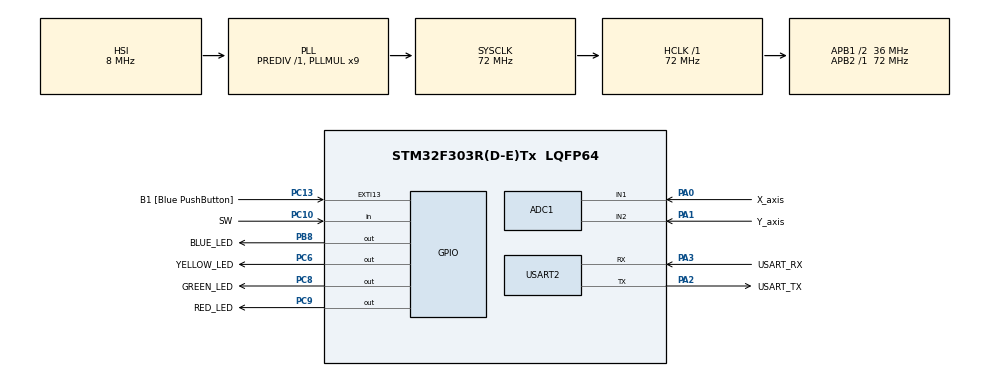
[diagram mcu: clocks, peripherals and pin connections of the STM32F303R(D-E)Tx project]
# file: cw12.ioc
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ADC1.Channel-0\#ChannelRegularConversion=ADC_CHANNEL_1
ADC1.NbrOfConversion=1
ADC1.NbrOfConversionFlag=1
ADC1.Offset-0\#ChannelRegularConversion=0
ADC1.OffsetNumber-0\#ChannelRegularConversion=ADC_OFFSET_NONE
ADC1.Rank-0\#ChannelRegularConversion=1
ADC1.SamplingTime-0\#ChannelRegularConversion=ADC_SAMPLETIME_19CYCLES_5
ADC1.master=1
Mcu.Family=STM32F3
Mcu.Name=STM32F303R(D-E)Tx
Mcu.Package=LQFP64
NVIC.PriorityGroup=NVIC_PRIORITYGROUP_0
PA0.GPIO_Label=X_axis
PA0.Mode=IN1-Single-Ended
PA0.Signal=ADC1_IN1
PA1.GPIO_Label=Y_axis
PA1.Mode=IN2-Single-Ended
PA1.Signal=ADC1_IN2
PA13.GPIO_Label=TMS
PA13.Mode=Serial_Wire
PA13.Signal=SYS_JTMS-SWDIO
PA14.GPIO_Label=TCK
PA14.Mode=Serial_Wire
PA14.Signal=SYS_JTCK-SWCLK
PA2.GPIO_Label=USART_TX
PA2.GPIO_Mode=GPIO_MODE_AF_PP
PA2.GPIO_PuPd=GPIO_NOPULL
PA2.GPIO_Speed=GPIO_SPEED_FREQ_LOW
PA2.Mode=Asynchronous
PA2.Signal=USART2_TX
PA3.GPIO_Label=USART_RX
PA3.GPIO_Mode=GPIO_MODE_AF_PP
PA3.GPIO_PuPd=GPIO_NOPULL
PA3.GPIO_Speed=GPIO_SPEED_FREQ_LOW
PA3.Mode=Asynchronous
PA3.Signal=USART2_RX
PB3.GPIO_Label=SWO
PB3.Signal=SYS_JTDO-TRACESWO
PB8.GPIO_Label=BLUE_LED
PB8.Signal=GPIO_Output
PC10.GPIO_Label=SW
PC10.GPIO_PuPd=GPIO_PULLUP
PC10.Signal=GPIO_Input
PC13.GPIO_Label=B1 [Blue PushButton]
PC13.GPIO_ModeDefaultEXTI=GPIO_MODE_IT_FALLING
PC13.Signal=GPXTI13
PC14-OSC32_IN.Mode=LSE-External-Oscillator
PC14-OSC32_IN.Signal=RCC_OSC32_IN
PC15-OSC32_OUT.Mode=LSE-External-Oscillator
PC15-OSC32_OUT.Signal=RCC_OSC32_OUT
PC6.GPIO_Label=YELLOW_LED
PC6.Signal=GPIO_Output
PC8.GPIO_Label=GREEN_LED
PC8.Signal=GPIO_Output
PC9.GPIO_Label=RED_LED
PC9.Signal=GPIO_Output
PF0-OSC_IN.Mode=HSE-External-Clock-Source
PF0-OSC_IN.Signal=RCC_OSC_IN
PF1-OSC_OUT.Signal=RCC_OSC_OUT
ProjectManager.HeapSize=0x200
ProjectManager.StackSize=0x400
ProjectManager.TargetToolchain=STM32CubeIDE
RCC.AHBFreq_Value=72000000
RCC.APB1CLKDivider=RCC_HCLK_DIV2
RCC.APB1Freq_Value=36000000
RCC.APB1TimFreq_Value=72000000
RCC.APB2Freq_Value=72000000
RCC.APB2TimFreq_Value=72000000
RCC.CortexFreq_Value=72000000
RCC.HCLKFreq_Value=72000000
RCC.HSE_VALUE=8000000
RCC.HSI_VALUE=8000000
RCC.PLLM=8
RCC.PLLMUL=RCC_PLL_MUL9
RCC.PLLN=336
RCC.PLLP=RCC_PLLP_DIV4
RCC.PLLQ=7
RCC.RCC_PLLsource_Clock_Source_FROM_HSE=RCC_HSE_PREDIV_DIV2
RCC.SYSCLKFreq_VALUE=72000000
RCC.SYSCLKSourceVirtual=RCC_SYSCLKSOURCE_PLLCLK
RCC.USBFreq_Value=72000000
USART2.VirtualMode-Asynchronous=VM_ASYNC
board=NUCLEO-F303RE

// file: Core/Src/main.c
/* USER CODE BEGIN Header */
/**
  ******************************************************************************
  * @file           : main.c
  * @brief          : Main program body
  ******************************************************************************
  * @attention
  *
  * Copyright (c) 2026 STMicroelectronics.
  * All rights reserved.
  *
  * This software is licensed under terms that can be found in the LICENSE file
  * in the root directory of this software component.
  * If no LICENSE file comes with this software, it is provided AS-IS.
  *
  ******************************************************************************
  */
/* USER CODE END Header */
#include "main.h"

ADC_HandleTypeDef hadc1;

UART_HandleTypeDef huart2;

/* USER CODE BEGIN PV */
uint8_t sequence=0;
uint8_t button_old_state=1;
uint8_t button_new_state=0;
uint16_t axis_X=2028;
uint16_t axis_Y=2028;
State_t current_state=ALL_OFF;
State_t previous_state=ALL_OFF;

uint32_t blinking_last_time=0;
uint32_t wave_last_time=0;
uint8_t wave_led=0;
bool blinking_phase=false;
/* USER CODE END PV */

void SystemClock_Config(void);
static void MX_GPIO_Init(void);
static void MX_USART2_UART_Init(void);
static void MX_ADC1_Init(void);

int main(void)
{

  /* MCU Configuration--------------------------------------------------------*/

  /* Reset of all peripherals, Initializes the Flash interface and the Systick. */
  HAL_Init();

  /* Configure the system clock */
  SystemClock_Config();

  /* Initialize all configured peripherals */
  MX_GPIO_Init();
  MX_USART2_UART_Init();
  MX_ADC1_Init();

  /* Infinite loop */
  /* USER CODE BEGIN WHILE */

  while (1)
  {
	 StateMachine_Update();
    /* USER CODE END WHILE */

  }
}

void SystemClock_Config(void)
{
  RCC_OscInitTypeDef RCC_OscInitStruct = {0};
  RCC_ClkInitTypeDef RCC_ClkInitStruct = {0};
  RCC_PeriphCLKInitTypeDef PeriphClkInit = {0};

  /** Initializes the RCC Oscillators according to the specified parameters
  * in the RCC_OscInitTypeDef structure.
  */
  RCC_OscInitStruct.OscillatorType = RCC_OSCILLATORTYPE_HSI;
  RCC_OscInitStruct.HSIState = RCC_HSI_ON;
  RCC_OscInitStruct.HSICalibrationValue = RCC_HSICALIBRATION_DEFAULT;
  RCC_OscInitStruct.PLL.PLLState = RCC_PLL_ON;
  RCC_OscInitStruct.PLL.PLLSource = RCC_PLLSOURCE_HSI;
  RCC_OscInitStruct.PLL.PLLMUL = RCC_PLL_MUL9;
  RCC_OscInitStruct.PLL.PREDIV = RCC_PREDIV_DIV1;
  if (HAL_RCC_OscConfig(&RCC_OscInitStruct) != HAL_OK)
  {
    Error_Handler();
  }

  /** Initializes the CPU, AHB and APB buses clocks
  */
  RCC_ClkInitStruct.ClockType = RCC_CLOCKTYPE_HCLK|RCC_CLOCKTYPE_SYSCLK
                              |RCC_CLOCKTYPE_PCLK1|RCC_CLOCKTYPE_PCLK2;
  RCC_ClkInitStruct.SYSCLKSource = RCC_SYSCLKSOURCE_PLLCLK;
  RCC_ClkInitStruct.AHBCLKDivider = RCC_SYSCLK_DIV1;
  RCC_ClkInitStruct.APB1CLKDivider = RCC_HCLK_DIV2;
  RCC_ClkInitStruct.APB2CLKDivider = RCC_HCLK_DIV1;

  if (HAL_RCC_ClockConfig(&RCC_ClkInitStruct, FLASH_LATENCY_2) != HAL_OK)
  {
    Error_Handler();
  }
  PeriphClkInit.PeriphClockSelection = RCC_PERIPHCLK_USART2|RCC_PERIPHCLK_ADC12;
  PeriphClkInit.Usart2ClockSelection = RCC_USART2CLKSOURCE_PCLK1;
  PeriphClkInit.Adc12ClockSelection = RCC_ADC12PLLCLK_DIV1;
  if (HAL_RCCEx_PeriphCLKConfig(&PeriphClkInit) != HAL_OK)
  {
    Error_Handler();
  }
}

static void MX_ADC1_Init(void)
{

  ADC_MultiModeTypeDef multimode = {0};
  ADC_ChannelConfTypeDef sConfig = {0};

  /** Common config
  */
  hadc1.Instance = ADC1;
  hadc1.Init.ClockPrescaler = ADC_CLOCK_ASYNC_DIV1;
  hadc1.Init.Resolution = ADC_RESOLUTION_12B;
  hadc1.Init.ScanConvMode = ADC_SCAN_DISABLE;
  hadc1.Init.ContinuousConvMode = DISABLE;
  hadc1.Init.DiscontinuousConvMode = DISABLE;
  hadc1.Init.ExternalTrigConvEdge = ADC_EXTERNALTRIGCONVEDGE_NONE;
  hadc1.Init.ExternalTrigConv = ADC_SOFTWARE_START;
  hadc1.Init.DataAlign = ADC_DATAALIGN_RIGHT;
  hadc1.Init.NbrOfConversion = 1;
  hadc1.Init.DMAContinuousRequests = DISABLE;
  hadc1.Init.EOCSelection = ADC_EOC_SINGLE_CONV;
  hadc1.Init.LowPowerAutoWait = DISABLE;
  hadc1.Init.Overrun = ADC_OVR_DATA_OVERWRITTEN;
  if (HAL_ADC_Init(&hadc1) != HAL_OK)
  {
    Error_Handler();
  }

  /** Configure the ADC multi-mode
  */
  multimode.Mode = ADC_MODE_INDEPENDENT;
  if (HAL_ADCEx_MultiModeConfigChannel(&hadc1, &multimode) != HAL_OK)
  {
    Error_Handler();
  }

  /** Configure Regular Channel
  */
  sConfig.Channel = ADC_CHANNEL_1;
  sConfig.Rank = ADC_REGULAR_RANK_1;
  sConfig.SingleDiff = ADC_SINGLE_ENDED;
  sConfig.SamplingTime = ADC_SAMPLETIME_19CYCLES_5;
  sConfig.OffsetNumber = ADC_OFFSET_NONE;
  sConfig.Offset = 0;
  if (HAL_ADC_ConfigChannel(&hadc1, &sConfig) != HAL_OK)
  {
    Error_Handler();
  }

}

static void MX_USART2_UART_Init(void)
{

  huart2.Instance = USART2;
  huart2.Init.BaudRate = 38400;
  huart2.Init.WordLength = UART_WORDLENGTH_8B;
  huart2.Init.StopBits = UART_STOPBITS_1;
  huart2.Init.Parity = UART_PARITY_NONE;
  huart2.Init.Mode = UART_MODE_TX_RX;
  huart2.Init.HwFlowCtl = UART_HWCONTROL_NONE;
  huart2.Init.OverSampling = UART_OVERSAMPLING_16;
  huart2.Init.OneBitSampling = UART_ONE_BIT_SAMPLE_DISABLE;
  huart2.AdvancedInit.AdvFeatureInit = UART_ADVFEATURE_NO_INIT;
  if (HAL_UART_Init(&huart2) != HAL_OK)
  {
    Error_Handler();
  }

}

static void MX_GPIO_Init(void)
{
  GPIO_InitTypeDef GPIO_InitStruct = {0};

  /* GPIO Ports Clock Enable */
  __HAL_RCC_GPIOC_CLK_ENABLE();
  __HAL_RCC_GPIOF_CLK_ENABLE();
  __HAL_RCC_GPIOA_CLK_ENABLE();
  __HAL_RCC_GPIOB_CLK_ENABLE();

  /*Configure GPIO pin Output Level */
  HAL_GPIO_WritePin(GPIOC, YELLOW_LED_Pin|GREEN_LED_Pin|RED_LED_Pin, GPIO_PIN_RESET);

  /*Configure GPIO pin Output Level */
  HAL_GPIO_WritePin(BLUE_LED_GPIO_Port, BLUE_LED_Pin, GPIO_PIN_RESET);

  /*Configure GPIO pin : B1_Pin */
  GPIO_InitStruct.Pin = B1_Pin;
  GPIO_InitStruct.Mode = GPIO_MODE_IT_FALLING;
  GPIO_InitStruct.Pull = GPIO_NOPULL;
  HAL_GPIO_Init(B1_GPIO_Port, &GPIO_InitStruct);

  /*Configure GPIO pins : YELLOW_LED_Pin GREEN_LED_Pin RED_LED_Pin */
  GPIO_InitStruct.Pin = YELLOW_LED_Pin|GREEN_LED_Pin|RED_LED_Pin;
  GPIO_InitStruct.Mode = GPIO_MODE_OUTPUT_PP;
  GPIO_InitStruct.Pull = GPIO_NOPULL;
  GPIO_InitStruct.Speed = GPIO_SPEED_FREQ_LOW;
  HAL_GPIO_Init(GPIOC, &GPIO_InitStruct);

  /*Configure GPIO pin : SW_Pin */
  GPIO_InitStruct.Pin = SW_Pin;
  GPIO_InitStruct.Mode = GPIO_MODE_INPUT;
  GPIO_InitStruct.Pull = GPIO_PULLUP;
  HAL_GPIO_Init(SW_GPIO_Port, &GPIO_InitStruct);

  /*Configure GPIO pin : BLUE_LED_Pin */
  GPIO_InitStruct.Pin = BLUE_LED_Pin;
  GPIO_InitStruct.Mode = GPIO_MODE_OUTPUT_PP;
  GPIO_InitStruct.Pull = GPIO_NOPULL;
  GPIO_InitStruct.Speed = GPIO_SPEED_FREQ_LOW;
  HAL_GPIO_Init(BLUE_LED_GPIO_Port, &GPIO_InitStruct);

}

/* USER CODE BEGIN 4 */
	void StateMachine_Update(void){
		if(Read_SW()){
			current_state=(current_state+1)%5;
		}

		if(current_state!=previous_state){
			blinking_last_time=HAL_GetTick();
			wave_last_time=HAL_GetTick();
			blinking_phase=false;
			wave_led=0;

			previous_state=current_state;
		}

		switch(current_state){
			case ALL_OFF:
				Turnoff_all();
				break;
			case ALL_ON:
				Turnon_all();
				break;
			case BLINKING:
				Blinking();
				break;
			case WAVE:
				Wave();
				break;
			case JOYSTICK:
				Joystick();
				break;
			default:
				break;
		}
	}
	void Turnoff_all(){
		HAL_GPIO_WritePin(RED_LED_GPIO_Port,RED_LED_Pin,GPIO_PIN_RESET);
		HAL_GPIO_WritePin(GREEN_LED_GPIO_Port,GREEN_LED_Pin,GPIO_PIN_RESET);
		HAL_GPIO_WritePin(BLUE_LED_GPIO_Port,BLUE_LED_Pin,GPIO_PIN_RESET);
		HAL_GPIO_WritePin(YELLOW_LED_GPIO_Port,YELLOW_LED_Pin,GPIO_PIN_RESET);
	}
	void Turnon_all(){
		HAL_GPIO_WritePin(RED_LED_GPIO_Port,RED_LED_Pin,GPIO_PIN_SET);
		HAL_GPIO_WritePin(GREEN_LED_GPIO_Port,GREEN_LED_Pin,GPIO_PIN_SET);
		HAL_GPIO_WritePin(BLUE_LED_GPIO_Port,BLUE_LED_Pin,GPIO_PIN_SET);
		HAL_GPIO_WritePin(YELLOW_LED_GPIO_Port,YELLOW_LED_Pin,GPIO_PIN_SET);
	}
	void Blinking(){
		uint32_t now=HAL_GetTick();

		if(now-blinking_last_time>350){
			blinking_last_time=now;
			blinking_phase=!blinking_phase;

			if(blinking_phase){
				HAL_GPIO_WritePin(RED_LED_GPIO_Port,RED_LED_Pin,GPIO_PIN_SET);
				HAL_GPIO_WritePin(GREEN_LED_GPIO_Port,GREEN_LED_Pin,GPIO_PIN_RESET);
				HAL_GPIO_WritePin(BLUE_LED_GPIO_Port,BLUE_LED_Pin,GPIO_PIN_SET);
				HAL_GPIO_WritePin(YELLOW_LED_GPIO_Port,YELLOW_LED_Pin,GPIO_PIN_RESET);
			}else{
				HAL_GPIO_WritePin(RED_LED_GPIO_Port,RED_LED_Pin,GPIO_PIN_RESET);
				HAL_GPIO_WritePin(GREEN_LED_GPIO_Port,GREEN_LED_Pin,GPIO_PIN_SET);
				HAL_GPIO_WritePin(BLUE_LED_GPIO_Port,BLUE_LED_Pin,GPIO_PIN_RESET);
				HAL_GPIO_WritePin(YELLOW_LED_GPIO_Port,YELLOW_LED_Pin,GPIO_PIN_SET);
			}
		}
	}
	void Wave(){
		uint32_t now=HAL_GetTick();

		if(now-wave_last_time>350){
			wave_last_time=now;
			Turnoff_all();
			switch(wave_led){
				case 0:
					HAL_GPIO_WritePin(RED_LED_GPIO_Port,RED_LED_Pin,GPIO_PIN_SET);
					break;
				case 1:
					HAL_GPIO_WritePin(GREEN_LED_GPIO_Port,GREEN_LED_Pin,GPIO_PIN_SET);
					break;
				case 2:
					HAL_GPIO_WritePin(BLUE_LED_GPIO_Port,BLUE_LED_Pin,GPIO_PIN_SET);
					break;
				case 3:
					HAL_GPIO_WritePin(YELLOW_LED_GPIO_Port,YELLOW_LED_Pin,GPIO_PIN_SET);
					break;
			}
			wave_led=(wave_led+1)%4;
		}

	}

	void Joystick(){
		Read_ADC();
		Turnoff_all();
		if(axis_X>3000){
			HAL_GPIO_WritePin(RED_LED_GPIO_Port,RED_LED_Pin,GPIO_PIN_SET);
		}else if(axis_X<1000){
			HAL_GPIO_WritePin(BLUE_LED_GPIO_Port,BLUE_LED_Pin,GPIO_PIN_SET);
		}

		if(axis_Y>3000){
			HAL_GPIO_WritePin(GREEN_LED_GPIO_Port,GREEN_LED_Pin,GPIO_PIN_SET);
		}else if(axis_Y<1000){
			HAL_GPIO_WritePin(YELLOW_LED_GPIO_Port,YELLOW_LED_Pin,GPIO_PIN_SET);
		}
	}

	void Read_ADC(void)
	{
	    axis_X = Read_Channel(ADC_CHANNEL_1);
	    axis_Y = Read_Channel(ADC_CHANNEL_2);

	}

	bool Read_SW(){
		static uint32_t last_press_time=0;
		  button_new_state=HAL_GPIO_ReadPin(SW_GPIO_Port,SW_Pin);

		  if(button_old_state==1 && button_new_state==0){
			  uint32_t now=HAL_GetTick();
			  if(now-last_press_time>200){
				  last_press_time=now;
				  button_old_state=button_new_state;
				  return true;
			  }
		  }
		  button_old_state=button_new_state;
		  return false;
	}

	uint16_t Read_Channel(uint32_t channel)
	{
	    ADC_ChannelConfTypeDef sConfig = {0};
	    sConfig.Channel = channel;
	    sConfig.Rank = ADC_REGULAR_RANK_1;
	    sConfig.SingleDiff = ADC_SINGLE_ENDED;
	    sConfig.SamplingTime = ADC_SAMPLETIME_19CYCLES_5;
	    sConfig.OffsetNumber = ADC_OFFSET_NONE;
	    sConfig.Offset = 0;
	    HAL_ADC_ConfigChannel(&hadc1, &sConfig);

	    uint16_t val = 2048;
	    HAL_ADC_Start(&hadc1);
	    if (HAL_ADC_PollForConversion(&hadc1, 10) == HAL_OK)
	        val = HAL_ADC_GetValue(&hadc1);
	    HAL_ADC_Stop(&hadc1);
	    return val;
	}
/* USER CODE END 4 */

void Error_Handler(void)
{
  __disable_irq();
  while (1)
  {
  }
}
